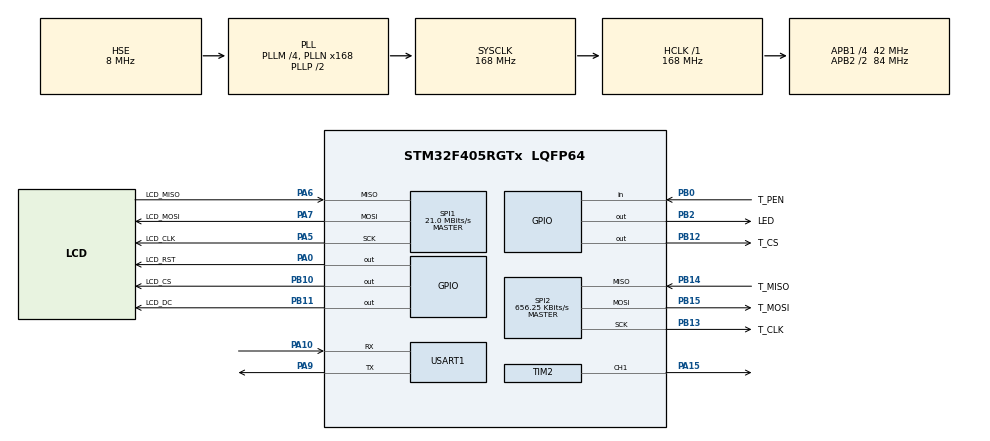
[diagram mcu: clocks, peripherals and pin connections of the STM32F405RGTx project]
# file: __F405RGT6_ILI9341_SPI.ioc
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Mcu.Family=STM32F4
Mcu.Name=STM32F405RGTx
Mcu.Package=LQFP64
NVIC.PriorityGroup=NVIC_PRIORITYGROUP_4
PA0-WKUP.GPIO_Label=LCD_RST
PA0-WKUP.PinState=GPIO_PIN_SET
PA0-WKUP.Signal=GPIO_Output
PA10.Mode=Asynchronous
PA10.Signal=USART1_RX
PA13.Mode=Serial_Wire
PA13.Signal=SYS_JTMS-SWDIO
PA14.Mode=Serial_Wire
PA14.Signal=SYS_JTCK-SWCLK
PA15.Signal=S_TIM2_CH1_ETR
PA5.GPIO_Label=LCD_CLK
PA5.Mode=Full_Duplex_Master
PA5.Signal=SPI1_SCK
PA6.GPIO_Label=LCD_MISO
PA6.Mode=Full_Duplex_Master
PA6.Signal=SPI1_MISO
PA7.GPIO_Label=LCD_MOSI
PA7.Mode=Full_Duplex_Master
PA7.Signal=SPI1_MOSI
PA9.Mode=Asynchronous
PA9.Signal=USART1_TX
PB0.GPIO_Label=T_PEN
PB0.Signal=GPIO_Input
PB10.GPIO_Label=LCD_CS
PB10.GPIO_Speed=GPIO_SPEED_FREQ_VERY_HIGH
PB10.PinState=GPIO_PIN_SET
PB10.Signal=GPIO_Output
PB11.GPIO_Label=LCD_DC
PB11.GPIO_Speed=GPIO_SPEED_FREQ_VERY_HIGH
PB11.PinState=GPIO_PIN_SET
PB11.Signal=GPIO_Output
PB12.GPIO_Label=T_CS
PB12.Signal=GPIO_Output
PB13.GPIO_Label=T_CLK
PB13.Mode=Full_Duplex_Master
PB13.Signal=SPI2_SCK
PB14.GPIO_Label=T_MISO
PB14.Mode=Full_Duplex_Master
PB14.Signal=SPI2_MISO
PB15.GPIO_Label=T_MOSI
PB15.Mode=Full_Duplex_Master
PB15.Signal=SPI2_MOSI
PB2.GPIO_Label=LED
PB2.Signal=GPIO_Output
PH0-OSC_IN.Mode=HSE-External-Oscillator
PH0-OSC_IN.Signal=RCC_OSC_IN
PH1-OSC_OUT.Mode=HSE-External-Oscillator
PH1-OSC_OUT.Signal=RCC_OSC_OUT
ProjectManager.HeapSize=0x800
ProjectManager.StackSize=0x800
ProjectManager.TargetToolchain=STM32CubeIDE
RCC.48MHZClocksFreq_Value=48000000
RCC.AHBFreq_Value=168000000
RCC.APB1CLKDivider=RCC_HCLK_DIV4
RCC.APB1Freq_Value=42000000
RCC.APB1TimFreq_Value=84000000
RCC.APB2CLKDivider=RCC_HCLK_DIV2
RCC.APB2Freq_Value=84000000
RCC.APB2TimFreq_Value=168000000
RCC.CortexFreq_Value=168000000
RCC.HCLKFreq_Value=168000000
RCC.HSE_VALUE=8000000
RCC.HSI_VALUE=16000000
RCC.LSE_VALUE=32768
RCC.PLLM=4
RCC.PLLN=168
RCC.PLLQ=7
RCC.PLLSourceVirtual=RCC_PLLSOURCE_HSE
RCC.SYSCLKFreq_VALUE=168000000
RCC.SYSCLKSource=RCC_SYSCLKSOURCE_PLLCLK
RCC.VCOOutputFreq_Value=336000000
SH.S_TIM2_CH1_ETR.0=TIM2_CH1,PWM Generation1 CH1
SPI1.BaudRatePrescaler=SPI_BAUDRATEPRESCALER_4
SPI1.CalculateBaudRate=21.0 MBits/s
SPI1.Direction=SPI_DIRECTION_2LINES
SPI1.Mode=SPI_MODE_MASTER
SPI1.VirtualType=VM_MASTER
SPI2.BaudRatePrescaler=SPI_BAUDRATEPRESCALER_64
SPI2.CalculateBaudRate=656.25 KBits/s
SPI2.Direction=SPI_DIRECTION_2LINES
SPI2.Mode=SPI_MODE_MASTER
SPI2.VirtualType=VM_MASTER
TIM2.AutoReloadPreload=TIM_AUTORELOAD_PRELOAD_ENABLE
TIM2.Channel-PWM\ Generation1\ CH1=TIM_CHANNEL_1
TIM2.Period=65535
TIM2.Prescaler=2
USART1.VirtualMode=VM_ASYNC
VP_RNG_VS_RNG.Mode=RNG_Activate
board=custom

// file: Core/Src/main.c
/* USER CODE BEGIN Header */
/**
  ******************************************************************************
  * @file           : main.c
  * @brief          : Main program body
  ******************************************************************************
  * @attention
  *
  * Copyright (c) 2025 STMicroelectronics.
  * All rights reserved.
  *
  * This software is licensed under terms that can be found in the LICENSE file
  * in the root directory of this software component.
  * If no LICENSE file comes with this software, it is provided AS-IS.
  *
  ******************************************************************************
  */
/* USER CODE END Header */
#include "main.h"

/* USER CODE BEGIN Includes */
#include "TP_operations.h"
#include "ili9341.h"
#include "stdio.h"
#include "TTF.H"
/* USER CODE END Includes */

RNG_HandleTypeDef hrng;

SPI_HandleTypeDef hspi1;
SPI_HandleTypeDef hspi2;

TIM_HandleTypeDef htim2;

UART_HandleTypeDef huart1;

/* USER CODE BEGIN PV */

uint8_t idx[13];
uint8_t idy[13];

const   char clr_scr[] = {"\033[2J\033[3J\033[92m\033[0;0f"};
const char run_INFO[] = {"STARTED !!!\r\n\r\n"};
/* USER CODE END PV */

void SystemClock_Config(void);
static void MX_GPIO_Init(void);
static void MX_SPI1_Init(void);
static void MX_TIM2_Init(void);
static void MX_RNG_Init(void);
static void MX_SPI2_Init(void);
static void MX_USART1_UART_Init(void);

/* USER CODE BEGIN 0 */
int __io_putchar(int ch) {
 //uart_UART1_transmit((uint8_t *)&ch, 1, 100);
 HAL_UART_Transmit(&huart1, (uint8_t *)&ch, 1, 100);
 return ch;
}

int _write(int file,char *ptr, int len) {
 int DataIdx;
 for(DataIdx= 0; DataIdx< len; DataIdx++) {
  __io_putchar(*ptr++);
 }
 return len;
}
extern void start_Paint(void);
/* USER CODE END 0 */

int main(void)
{

  /* MCU Configuration--------------------------------------------------------*/

  /* Reset of all peripherals, Initializes the Flash interface and the Systick. */
  HAL_Init();

  /* Configure the system clock */
  SystemClock_Config();

  /* Initialize all configured peripherals */
  MX_GPIO_Init();
  MX_SPI1_Init();
  MX_TIM2_Init();
  MX_RNG_Init();
  MX_SPI2_Init();
  MX_USART1_UART_Init();
  /* USER CODE BEGIN 2 */

  LCD_ILI9341_init(); // in new HAL version ILI9341.c

  printf(clr_scr);
  printf(run_INFO);

  const char data[] = "Hello world !!!\r\n";

  /* USER CODE END 2 */

  /* Infinite loop */
  while (1)
  {

    /* USER CODE BEGIN 3 */

	  Big_TTF_Demo();
	  Timer_Demo();
	  lcdSetOrientation(LCD_ORIENTATION_LANDSCAPE_ROTATE);
	  LCD_CLS(lcd_background_color);

	  for(uint32_t fader = 0; fader < 60; fader ++){
		  lcd_fade_text(10, 60, "FA:DE" , digital_7_ttf, 86);
	  }

 	  live_show_ts();

	  start_Paint();

	  HAL_GPIO_TogglePin(LED_GPIO_Port, LED_Pin);

	  printf(data);

  }
  /* USER CODE END 3 */
}

void SystemClock_Config(void)
{
  RCC_OscInitTypeDef RCC_OscInitStruct = {0};
  RCC_ClkInitTypeDef RCC_ClkInitStruct = {0};

  /** Configure the main internal regulator output voltage
  */
  __HAL_RCC_PWR_CLK_ENABLE();
  __HAL_PWR_VOLTAGESCALING_CONFIG(PWR_REGULATOR_VOLTAGE_SCALE1);

  /** Initializes the RCC Oscillators according to the specified parameters
  * in the RCC_OscInitTypeDef structure.
  */
  RCC_OscInitStruct.OscillatorType = RCC_OSCILLATORTYPE_HSE;
  RCC_OscInitStruct.HSEState = RCC_HSE_ON;
  RCC_OscInitStruct.PLL.PLLState = RCC_PLL_ON;
  RCC_OscInitStruct.PLL.PLLSource = RCC_PLLSOURCE_HSE;
  RCC_OscInitStruct.PLL.PLLM = 4;
  RCC_OscInitStruct.PLL.PLLN = 168;
  RCC_OscInitStruct.PLL.PLLP = RCC_PLLP_DIV2;
  RCC_OscInitStruct.PLL.PLLQ = 7;
  if (HAL_RCC_OscConfig(&RCC_OscInitStruct) != HAL_OK)
  {
    Error_Handler();
  }

  /** Initializes the CPU, AHB and APB buses clocks
  */
  RCC_ClkInitStruct.ClockType = RCC_CLOCKTYPE_HCLK|RCC_CLOCKTYPE_SYSCLK
                              |RCC_CLOCKTYPE_PCLK1|RCC_CLOCKTYPE_PCLK2;
  RCC_ClkInitStruct.SYSCLKSource = RCC_SYSCLKSOURCE_PLLCLK;
  RCC_ClkInitStruct.AHBCLKDivider = RCC_SYSCLK_DIV1;
  RCC_ClkInitStruct.APB1CLKDivider = RCC_HCLK_DIV4;
  RCC_ClkInitStruct.APB2CLKDivider = RCC_HCLK_DIV2;

  if (HAL_RCC_ClockConfig(&RCC_ClkInitStruct, FLASH_LATENCY_5) != HAL_OK)
  {
    Error_Handler();
  }
}

static void MX_RNG_Init(void)
{

  hrng.Instance = RNG;
  if (HAL_RNG_Init(&hrng) != HAL_OK)
  {
    Error_Handler();
  }

}

static void MX_SPI1_Init(void)
{

  /* SPI1 parameter configuration*/
  hspi1.Instance = SPI1;
  hspi1.Init.Mode = SPI_MODE_MASTER;
  hspi1.Init.Direction = SPI_DIRECTION_2LINES;
  hspi1.Init.DataSize = SPI_DATASIZE_8BIT;
  hspi1.Init.CLKPolarity = SPI_POLARITY_LOW;
  hspi1.Init.CLKPhase = SPI_PHASE_1EDGE;
  hspi1.Init.NSS = SPI_NSS_SOFT;
  hspi1.Init.BaudRatePrescaler = SPI_BAUDRATEPRESCALER_4;
  hspi1.Init.FirstBit = SPI_FIRSTBIT_MSB;
  hspi1.Init.TIMode = SPI_TIMODE_DISABLE;
  hspi1.Init.CRCCalculation = SPI_CRCCALCULATION_DISABLE;
  hspi1.Init.CRCPolynomial = 10;
  if (HAL_SPI_Init(&hspi1) != HAL_OK)
  {
    Error_Handler();
  }

}

static void MX_SPI2_Init(void)
{

  /* SPI2 parameter configuration*/
  hspi2.Instance = SPI2;
  hspi2.Init.Mode = SPI_MODE_MASTER;
  hspi2.Init.Direction = SPI_DIRECTION_2LINES;
  hspi2.Init.DataSize = SPI_DATASIZE_8BIT;
  hspi2.Init.CLKPolarity = SPI_POLARITY_LOW;
  hspi2.Init.CLKPhase = SPI_PHASE_1EDGE;
  hspi2.Init.NSS = SPI_NSS_SOFT;
  hspi2.Init.BaudRatePrescaler = SPI_BAUDRATEPRESCALER_64;
  hspi2.Init.FirstBit = SPI_FIRSTBIT_MSB;
  hspi2.Init.TIMode = SPI_TIMODE_DISABLE;
  hspi2.Init.CRCCalculation = SPI_CRCCALCULATION_DISABLE;
  hspi2.Init.CRCPolynomial = 10;
  if (HAL_SPI_Init(&hspi2) != HAL_OK)
  {
    Error_Handler();
  }

}

static void MX_TIM2_Init(void)
{

  TIM_MasterConfigTypeDef sMasterConfig = {0};
  TIM_OC_InitTypeDef sConfigOC = {0};

  htim2.Instance = TIM2;
  htim2.Init.Prescaler = 2;
  htim2.Init.CounterMode = TIM_COUNTERMODE_UP;
  htim2.Init.Period = 65535;
  htim2.Init.ClockDivision = TIM_CLOCKDIVISION_DIV1;
  htim2.Init.AutoReloadPreload = TIM_AUTORELOAD_PRELOAD_ENABLE;
  if (HAL_TIM_PWM_Init(&htim2) != HAL_OK)
  {
    Error_Handler();
  }
  sMasterConfig.MasterOutputTrigger = TIM_TRGO_RESET;
  sMasterConfig.MasterSlaveMode = TIM_MASTERSLAVEMODE_DISABLE;
  if (HAL_TIMEx_MasterConfigSynchronization(&htim2, &sMasterConfig) != HAL_OK)
  {
    Error_Handler();
  }
  sConfigOC.OCMode = TIM_OCMODE_PWM1;
  sConfigOC.Pulse = 0;
  sConfigOC.OCPolarity = TIM_OCPOLARITY_HIGH;
  sConfigOC.OCFastMode = TIM_OCFAST_DISABLE;
  if (HAL_TIM_PWM_ConfigChannel(&htim2, &sConfigOC, TIM_CHANNEL_1) != HAL_OK)
  {
    Error_Handler();
  }
  HAL_TIM_MspPostInit(&htim2);

}

static void MX_USART1_UART_Init(void)
{

  huart1.Instance = USART1;
  huart1.Init.BaudRate = 115200;
  huart1.Init.WordLength = UART_WORDLENGTH_8B;
  huart1.Init.StopBits = UART_STOPBITS_1;
  huart1.Init.Parity = UART_PARITY_NONE;
  huart1.Init.Mode = UART_MODE_TX_RX;
  huart1.Init.HwFlowCtl = UART_HWCONTROL_NONE;
  huart1.Init.OverSampling = UART_OVERSAMPLING_16;
  if (HAL_UART_Init(&huart1) != HAL_OK)
  {
    Error_Handler();
  }

}

static void MX_GPIO_Init(void)
{
  GPIO_InitTypeDef GPIO_InitStruct = {0};

  /* GPIO Ports Clock Enable */
  __HAL_RCC_GPIOH_CLK_ENABLE();
  __HAL_RCC_GPIOA_CLK_ENABLE();
  __HAL_RCC_GPIOB_CLK_ENABLE();

  /*Configure GPIO pin Output Level */
  HAL_GPIO_WritePin(LCD_RST_GPIO_Port, LCD_RST_Pin, GPIO_PIN_SET);

  /*Configure GPIO pin Output Level */
  HAL_GPIO_WritePin(GPIOB, LED_Pin|T_CS_Pin, GPIO_PIN_RESET);

  /*Configure GPIO pin Output Level */
  HAL_GPIO_WritePin(GPIOB, LCD_CS_Pin|LCD_DC_Pin, GPIO_PIN_SET);

  /*Configure GPIO pin : LCD_RST_Pin */
  GPIO_InitStruct.Pin = LCD_RST_Pin;
  GPIO_InitStruct.Mode = GPIO_MODE_OUTPUT_PP;
  GPIO_InitStruct.Pull = GPIO_NOPULL;
  GPIO_InitStruct.Speed = GPIO_SPEED_FREQ_LOW;
  HAL_GPIO_Init(LCD_RST_GPIO_Port, &GPIO_InitStruct);

  /*Configure GPIO pin : T_PEN_Pin */
  GPIO_InitStruct.Pin = T_PEN_Pin;
  GPIO_InitStruct.Mode = GPIO_MODE_INPUT;
  GPIO_InitStruct.Pull = GPIO_NOPULL;
  HAL_GPIO_Init(T_PEN_GPIO_Port, &GPIO_InitStruct);

  /*Configure GPIO pins : LED_Pin T_CS_Pin */
  GPIO_InitStruct.Pin = LED_Pin|T_CS_Pin;
  GPIO_InitStruct.Mode = GPIO_MODE_OUTPUT_PP;
  GPIO_InitStruct.Pull = GPIO_NOPULL;
  GPIO_InitStruct.Speed = GPIO_SPEED_FREQ_LOW;
  HAL_GPIO_Init(GPIOB, &GPIO_InitStruct);

  /*Configure GPIO pins : LCD_CS_Pin LCD_DC_Pin */
  GPIO_InitStruct.Pin = LCD_CS_Pin|LCD_DC_Pin;
  GPIO_InitStruct.Mode = GPIO_MODE_OUTPUT_PP;
  GPIO_InitStruct.Pull = GPIO_NOPULL;
  GPIO_InitStruct.Speed = GPIO_SPEED_FREQ_VERY_HIGH;
  HAL_GPIO_Init(GPIOB, &GPIO_InitStruct);

}

void Error_Handler(void)
{
  __disable_irq();
  while (1)
  {
  }
}
